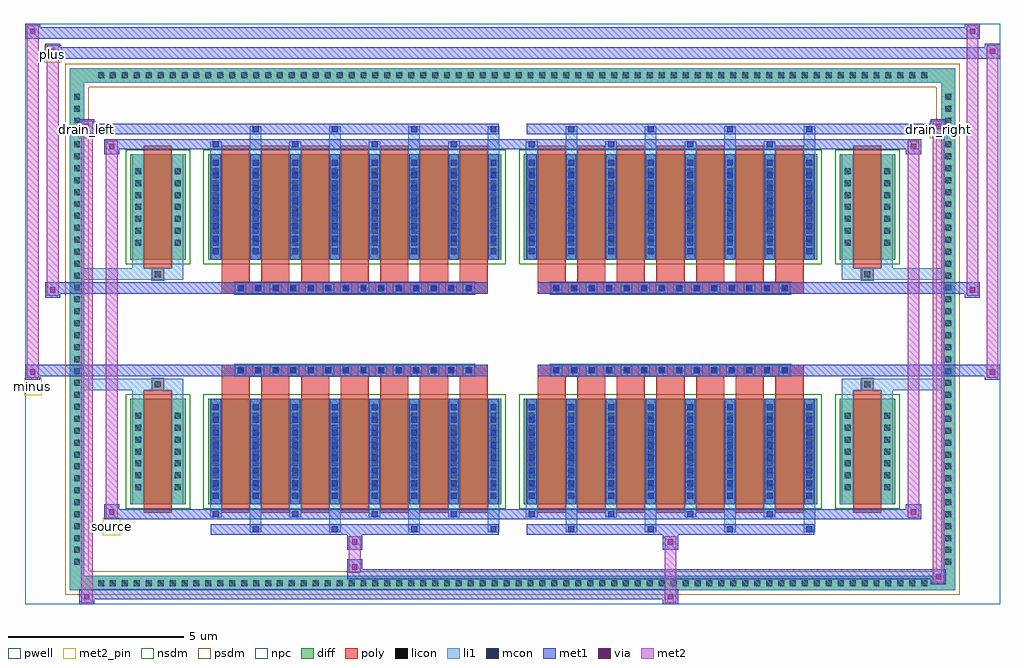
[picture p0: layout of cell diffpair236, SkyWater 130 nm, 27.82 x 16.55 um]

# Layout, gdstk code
import gdstk
lib = gdstk.Library(unit=1e-6, precision=5e-09)
def R(c, l, rs):  # rectangles x0, y0, x1, y1
    for r in rs: c.add(gdstk.rectangle(r[:2], r[2:], *l))
def A(c, l, x, y, w, h, nx, ny, dx, dy):  # array of equal rectangles
    R(c, l, [(x+i*dx, y+j*dy, x+i*dx+w, y+j*dy+h) for i in range(nx) for j in range(ny)])
def P(c, l, *ps):  # polygons
    for p in ps: c.add(gdstk.Polygon(p, *l))
pwell = (64, 44)
diff = (65, 20)
poly = (66, 20)
licon = (66, 44)
li1 = (67, 20)
mcon = (67, 44)
met1 = (68, 20)
via = (68, 44)
met2_pin = (69, 16)
met2 = (69, 20)
nsdm = (93, 44)
psdm = (94, 20)
npc = (95, 20)

diffpair236 = lib.new_cell('diffpair236')
R(diffpair236, pwell, [(-13.89,-7.84,13.89,8.71), (-11.21,-6.03,-0.01,-0.805), (0.01,-6.03,11.21,-0.805), (-11.21,0.805,-0.01,6.03), (0.01,0.805,11.21,6.03)])
A(diffpair236, diff, -11.935, -7.44, 0.41, 0.41, 70, 2, 0.34, 14.47)
A(diffpair236, diff, -12.62, -6.835, 0.41, 0.41, 1, 40, 0, 0.34)
A(diffpair236, diff, 12.21, -6.835, 0.41, 0.41, 1, 40, 0, 0.34)
R(diffpair236, diff, [(-11.935,-7.44,11.935,-7.03), (-12.62,-6.835,-12.21,6.835), (12.21,-6.835,12.62,6.835), (-10.9,-4.985,-9.32,-1.985), (-8.68,-4.985,-0.32,-1.985), (0.32,-4.985,8.68,-1.985), (9.32,-4.985,10.9,-1.985), (-10.9,1.985,-9.32,4.985), (-8.68,1.985,-0.32,4.985), (0.32,1.985,8.68,4.985), (9.32,1.985,10.9,4.985), (-11.935,7.03,11.935,7.44)])
P(diffpair236, diff, [(12.62,7.44),(-12.62,7.44),(-12.62,-7.03),(-12.21,-7.03),(-12.21,7.03),(12.21,7.03),(12.21,-7.03),(-12.21,-7.03),(-12.62,-7.03),(-12.62,-7.44),(12.62,-7.44)])
A(diffpair236, poly, -8.29, -5.235, 0.8, 3.5, 7, 2, 1.13, 6.97)
A(diffpair236, poly, 0.71, -5.235, 0.8, 3.5, 7, 2, 1.13, 6.97)
A(diffpair236, poly, -8.29, -1.735, 0.8, 0.4, 7, 2, 1.13, 3.07)
A(diffpair236, poly, 0.71, -1.735, 0.8, 0.4, 7, 2, 1.13, 3.07)
A(diffpair236, poly, -7.915, -1.335, 0.33, 0.33, 14, 2, 0.5, 2.34)
A(diffpair236, poly, 1.085, -1.335, 0.33, 0.33, 14, 2, 0.5, 2.34)
R(diffpair236, poly, [(-10.51,-5.235,-9.71,-1.735), (9.71,-5.235,10.51,-1.735), (-10.275,-1.735,-9.945,-1.405), (-10.275,-1.735,-9.945,-1.405), (9.945,-1.735,10.275,-1.405), (9.945,-1.735,10.275,-1.405), (-8.29,-1.335,-0.71,-1.005), (0.71,-1.335,8.29,-1.005), (-8.29,1.005,-0.71,1.335), (0.71,1.005,8.29,1.335), (-10.275,1.405,-9.945,1.735), (-10.275,1.405,-9.945,1.735), (9.945,1.405,10.275,1.735), (9.945,1.405,10.275,1.735), (-10.51,1.735,-9.71,5.235), (9.71,1.735,10.51,5.235)])
A(diffpair236, licon, -11.815, -7.32, 0.17, 0.17, 70, 2, 0.34, 14.47)
A(diffpair236, licon, -12.5, -6.715, 0.17, 0.17, 1, 40, 0, 0.34)
A(diffpair236, licon, 12.33, -6.715, 0.17, 0.17, 1, 40, 0, 0.34)
A(diffpair236, licon, -10.76, -4.59, 0.17, 0.17, 1, 7, 0, 0.34)
A(diffpair236, licon, -9.63, -4.59, 0.17, 0.17, 1, 7, 0, 0.34)
A(diffpair236, licon, -8.54, -4.59, 0.17, 0.17, 8, 7, 1.13, 0.34)
A(diffpair236, licon, 0.46, -4.59, 0.17, 0.17, 8, 7, 1.13, 0.34)
A(diffpair236, licon, 9.46, -4.59, 0.17, 0.17, 1, 7, 0, 0.34)
A(diffpair236, licon, 10.59, -4.59, 0.17, 0.17, 1, 7, 0, 0.34)
A(diffpair236, licon, -7.835, -1.255, 0.17, 0.17, 14, 2, 0.5, 2.34)
A(diffpair236, licon, 1.165, -1.255, 0.17, 0.17, 14, 2, 0.5, 2.34)
A(diffpair236, licon, -10.76, 2.38, 0.17, 0.17, 1, 7, 0, 0.34)
A(diffpair236, licon, -9.63, 2.38, 0.17, 0.17, 1, 7, 0, 0.34)
A(diffpair236, licon, -8.54, 2.38, 0.17, 0.17, 8, 7, 1.13, 0.34)
A(diffpair236, licon, 0.46, 2.38, 0.17, 0.17, 8, 7, 1.13, 0.34)
A(diffpair236, licon, 9.46, 2.38, 0.17, 0.17, 1, 7, 0, 0.34)
A(diffpair236, licon, 10.59, 2.38, 0.17, 0.17, 1, 7, 0, 0.34)
R(diffpair236, licon, [(-10.195,-1.655,-10.025,-1.485), (10.025,-1.655,10.195,-1.485), (-10.195,1.485,-10.025,1.655), (10.025,1.485,10.195,1.655)])
A(diffpair236, li1, -11.895, -7.4, 0.33, 0.33, 70, 2, 0.34, 14.47)
A(diffpair236, li1, -12.58, -6.795, 0.33, 0.33, 1, 40, 0, 0.34)
A(diffpair236, li1, 12.25, -6.795, 0.33, 0.33, 1, 40, 0, 0.34)
A(diffpair236, li1, -7.49, -5.79, 0.33, 0.805, 4, 2, 2.26, 10.775)
A(diffpair236, li1, -7.41, -5.79, 0.17, 0.17, 4, 2, 2.26, 11.41)
A(diffpair236, li1, 1.51, -5.79, 0.33, 0.805, 4, 2, 2.26, 10.775)
A(diffpair236, li1, 1.59, -5.79, 0.17, 0.17, 4, 2, 2.26, 11.41)
A(diffpair236, li1, -8.62, -5.36, 0.33, 0.375, 4, 2, 2.26, 10.345)
A(diffpair236, li1, -8.54, -5.36, 0.17, 0.17, 4, 2, 2.26, 10.55)
A(diffpair236, li1, 0.38, -5.36, 0.33, 0.375, 4, 2, 2.26, 10.345)
A(diffpair236, li1, 0.46, -5.36, 0.17, 0.17, 4, 2, 2.26, 10.55)
A(diffpair236, li1, -8.62, -4.985, 0.33, 3, 8, 2, 1.13, 6.97)
A(diffpair236, li1, 0.38, -4.985, 0.33, 3, 8, 2, 1.13, 6.97)
A(diffpair236, li1, -8.54, -4.83, 0.17, 0.17, 8, 8, 1.13, 0.36)
A(diffpair236, li1, -8.54, -4.83, 0.17, 2.69, 8, 2, 1.13, 6.97)
A(diffpair236, li1, 0.46, -4.83, 0.17, 0.17, 8, 8, 1.13, 0.36)
A(diffpair236, li1, 0.46, -4.83, 0.17, 2.69, 8, 2, 1.13, 6.97)
A(diffpair236, li1, -10.84, -4.67, 0.33, 0.33, 1, 7, 0, 0.34)
A(diffpair236, li1, -9.71, -4.67, 0.33, 0.33, 1, 7, 0, 0.34)
A(diffpair236, li1, -8.62, -4.67, 0.33, 0.33, 8, 7, 1.13, 0.34)
A(diffpair236, li1, 0.38, -4.67, 0.33, 0.33, 8, 7, 1.13, 0.34)
A(diffpair236, li1, 9.38, -4.67, 0.33, 0.33, 1, 7, 0, 0.34)
A(diffpair236, li1, 10.51, -4.67, 0.33, 0.33, 1, 7, 0, 0.34)
A(diffpair236, li1, -7.915, -1.335, 0.33, 0.33, 14, 2, 0.5, 2.34)
A(diffpair236, li1, 1.085, -1.335, 0.33, 0.33, 14, 2, 0.5, 2.34)
A(diffpair236, li1, -8.54, 2.14, 0.17, 0.17, 8, 8, 1.13, 0.36)
A(diffpair236, li1, 0.46, 2.14, 0.17, 0.17, 8, 8, 1.13, 0.36)
A(diffpair236, li1, -10.84, 2.3, 0.33, 0.33, 1, 7, 0, 0.34)
A(diffpair236, li1, -9.71, 2.3, 0.33, 0.33, 1, 7, 0, 0.34)
A(diffpair236, li1, -8.62, 2.3, 0.33, 0.33, 8, 7, 1.13, 0.34)
A(diffpair236, li1, 0.38, 2.3, 0.33, 0.33, 8, 7, 1.13, 0.34)
A(diffpair236, li1, 9.38, 2.3, 0.33, 0.33, 1, 7, 0, 0.34)
A(diffpair236, li1, 10.51, 2.3, 0.33, 0.33, 1, 7, 0, 0.34)
R(diffpair236, li1, [(-12.62,-7.44,-12.21,-7.03), (-12.62,-7.44,-12.21,-7.03), (-12.21,-7.44,12.21,-7.03), (12.21,-7.44,12.62,-7.03), (12.21,-7.44,12.62,-7.03), (-12.62,-7.03,-12.21,7.03), (12.21,-7.03,12.62,7.03), (-10.84,-4.985,-10.51,-1.985), (-9.71,-4.985,-9.38,-1.985), (9.38,-4.985,9.71,-1.985), (10.51,-4.985,10.84,-1.985), (-10.84,-1.985,-10.51,-1.405), (-9.71,-1.985,-9.38,-1.405), (9.38,-1.985,9.71,-1.405), (10.51,-1.985,10.84,-1.405), (-12.62,-1.735,-10.275,-1.405), (-10.84,-1.735,-10.275,-1.405), (-10.275,-1.735,-9.945,-1.405), (-9.945,-1.735,-9.38,-1.405), (9.38,-1.735,9.945,-1.405), (9.945,-1.735,10.275,-1.405), (9.945,-1.735,12.62,-1.405), (10.275,-1.735,10.84,-1.405), (-12.62,1.405,-10.275,1.735), (-10.84,1.405,-10.275,1.735), (-10.84,1.405,-10.51,1.985), (-10.275,1.405,-9.945,1.735), (-9.945,1.405,-9.38,1.735), (-9.71,1.405,-9.38,1.985), (9.38,1.405,9.945,1.735), (9.38,1.405,9.71,1.985), (9.945,1.405,10.275,1.735), (9.945,1.405,12.62,1.735), (10.275,1.405,10.84,1.735), (10.51,1.405,10.84,1.985), (-10.84,1.985,-10.51,4.985), (-9.71,1.985,-9.38,4.985), (9.38,1.985,9.71,4.985), (10.51,1.985,10.84,4.985), (-12.62,7.03,-12.21,7.44), (-12.62,7.03,-12.21,7.44), (-12.21,7.03,12.21,7.44), (12.21,7.03,12.62,7.44), (12.21,7.03,12.62,7.44)])
A(diffpair236, mcon, -7.41, -5.79, 0.17, 0.17, 4, 2, 2.26, 11.41)
A(diffpair236, mcon, 1.59, -5.79, 0.17, 0.17, 4, 2, 2.26, 11.41)
A(diffpair236, mcon, -8.54, -5.36, 0.17, 0.17, 4, 2, 2.26, 10.55)
A(diffpair236, mcon, 0.46, -5.36, 0.17, 0.17, 4, 2, 2.26, 10.55)
A(diffpair236, mcon, -8.54, -4.83, 0.17, 0.17, 8, 8, 1.13, 0.36)
A(diffpair236, mcon, 0.46, -4.83, 0.17, 0.17, 8, 8, 1.13, 0.36)
A(diffpair236, mcon, -7.835, -1.255, 0.17, 0.17, 14, 2, 0.5, 2.34)
A(diffpair236, mcon, 1.165, -1.255, 0.17, 0.17, 14, 2, 0.5, 2.34)
A(diffpair236, mcon, -8.54, 2.14, 0.17, 0.17, 8, 8, 1.13, 0.36)
A(diffpair236, mcon, 0.46, 2.14, 0.17, 0.17, 8, 8, 1.13, 0.36)
A(diffpair236, met1, -7.47, -5.85, 0.29, 0.29, 4, 2, 2.26, 11.41)
A(diffpair236, met1, 1.53, -5.85, 0.29, 0.29, 4, 2, 2.26, 11.41)
A(diffpair236, met1, -8.6, -5.42, 0.29, 0.29, 4, 2, 2.26, 10.55)
A(diffpair236, met1, 0.4, -5.42, 0.29, 0.29, 4, 2, 2.26, 10.55)
A(diffpair236, met1, -8.6, -4.985, 0.29, 3, 8, 2, 1.13, 6.97)
A(diffpair236, met1, 0.4, -4.985, 0.29, 3, 8, 2, 1.13, 6.97)
A(diffpair236, met1, -8.6, -4.89, 0.29, 0.29, 8, 8, 1.13, 0.36)
A(diffpair236, met1, 0.4, -4.89, 0.29, 0.29, 8, 8, 1.13, 0.36)
A(diffpair236, met1, -7.895, -1.315, 0.29, 0.29, 14, 2, 0.5, 2.34)
A(diffpair236, met1, 1.105, -1.315, 0.29, 0.29, 14, 2, 0.5, 2.34)
A(diffpair236, met1, -8.6, 2.08, 0.29, 0.29, 8, 8, 1.13, 0.36)
A(diffpair236, met1, 0.4, 2.08, 0.29, 0.29, 8, 8, 1.13, 0.36)
R(diffpair236, met1, [(-12.35,-7.84,-11.92,-7.41), (4.285,-7.84,4.715,-7.41), (-12.35,-7.7,4.715,-7.41), (11.92,-7.27,12.35,-6.84), (-4.715,-7.13,12.35,-6.84), (-4.715,-6.99,-4.285,-6.56), (-4.715,-6.28,-4.285,-5.85), (4.285,-6.28,4.715,-5.85), (-8.6,-5.85,-0.4,-5.56), (0.4,-5.85,8.6,-5.56), (-11.64,-5.42,-11.21,-4.99), (-11.64,-5.42,-8.6,-5.13), (-8.6,-5.42,-0.4,-5.13), (-0.4,-5.42,0.4,-5.13), (0.4,-5.42,8.6,-5.13), (8.6,-5.42,11.64,-5.13), (11.21,-5.42,11.64,-4.99), (-13.89,-1.435,-13.46,-1.005), (13.46,-1.435,13.89,-1.005), (-13.89,-1.335,-0.71,-1.005), (-8.29,-1.335,-0.71,-1.005), (0.71,-1.335,8.29,-1.005), (0.71,-1.335,13.89,-1.005), (-13.32,0.905,-12.89,1.335), (12.89,0.905,13.32,1.335), (-13.32,1.005,-8.29,1.335), (-8.29,1.005,-0.71,1.335), (0.71,1.005,8.29,1.335), (8.29,1.005,13.32,1.335), (-11.64,4.99,-11.21,5.42), (11.21,4.99,11.64,5.42), (-11.64,5.13,-8.6,5.42), (-8.6,5.13,-0.4,5.42), (-0.4,5.13,0.4,5.42), (0.4,5.13,8.6,5.42), (8.6,5.13,11.64,5.42), (-12.35,5.56,-11.92,5.99), (-12.35,5.56,-8.6,5.85), (-8.6,5.56,-0.4,5.85), (0.4,5.56,8.6,5.85), (8.6,5.56,12.35,5.85), (11.92,5.56,12.35,5.99), (-13.32,7.71,-12.89,8.14), (-13.32,7.71,-11.21,8.04), (-11.21,7.71,11.21,8.04), (11.21,7.71,13.89,8.04), (13.46,7.71,13.89,8.14), (-13.89,8.28,-13.46,8.71), (-13.89,8.28,-11.21,8.61), (-11.21,8.28,11.21,8.61), (11.21,8.28,13.32,8.61), (12.89,8.28,13.32,8.71)])
R(diffpair236, via, [(-12.21,-7.7,-12.06,-7.55), (4.425,-7.7,4.575,-7.55), (12.06,-7.13,12.21,-6.98), (-4.575,-6.85,-4.425,-6.7), (-4.575,-6.14,-4.425,-5.99), (4.425,-6.14,4.575,-5.99), (-11.5,-5.28,-11.35,-5.13), (11.35,-5.28,11.5,-5.13), (-13.75,-1.295,-13.6,-1.145), (13.6,-1.295,13.75,-1.145), (-13.18,1.045,-13.03,1.195), (13.03,1.045,13.18,1.195), (-11.5,5.13,-11.35,5.28), (11.35,5.13,11.5,5.28), (-12.21,5.7,-12.06,5.85), (12.06,5.7,12.21,5.85), (-13.18,7.85,-13.03,8), (13.6,7.85,13.75,8), (-13.75,8.42,-13.6,8.57), (13.03,8.42,13.18,8.57)])
R(diffpair236, met2_pin, [(-11.675,-5.87,-11.175,-5.37), (-13.925,-1.885,-13.425,-1.385), (-12.385,5.44,-11.885,5.94), (11.885,5.44,12.385,5.94), (-13.355,7.59,-12.855,8.09)])
R(diffpair236, met2, [(-12.3,-7.79,-11.97,-7.46), (-12.3,-7.79,-11.97,5.94), (4.335,-7.79,4.665,-7.46), (4.335,-7.46,4.665,-6.23), (11.97,-7.22,12.3,-6.89), (11.97,-7.22,12.3,5.94), (-4.665,-6.94,-4.335,-6.61), (-4.665,-6.61,-4.335,-6.23), (-4.665,-6.23,-4.335,-5.9), (4.335,-6.23,4.665,-5.9), (-11.59,-5.37,-11.26,-5.04), (-11.59,-5.37,-11.26,5.37), (11.26,-5.37,11.59,-5.04), (11.26,-5.37,11.59,5.37), (-13.84,-1.385,-13.51,-1.055), (-13.84,-1.385,-13.51,8.66), (13.51,-1.385,13.84,-1.055), (13.51,-1.385,13.84,8.09), (-13.27,0.955,-12.94,1.285), (-13.27,0.955,-12.94,8.09), (12.94,0.955,13.27,1.285), (12.94,0.955,13.27,8.66), (-11.59,5.04,-11.26,5.37), (11.26,5.04,11.59,5.37), (-12.3,5.61,-11.97,5.94), (11.97,5.61,12.3,5.94), (-13.27,7.76,-12.94,8.09), (13.51,7.76,13.84,8.09), (-13.84,8.33,-13.51,8.66), (12.94,8.33,13.27,8.66)])
P(diffpair236, met2, [(13.84,-1.385),(13.84,-1.385),(13.84,-1.055),(13.84,-1.055)],
  [(13.84,7.76),(13.84,7.76),(13.84,8.09),(13.84,8.09)],
  [(-13.51,-1.385),(-13.51,-1.385),(-13.51,-1.055),(-13.51,-1.055)],
  [(-13.51,8.33),(-13.51,8.33),(-13.51,8.66),(-13.51,8.66)],
  [(13.27,0.955),(13.27,0.955),(13.27,1.285),(13.27,1.285)],
  [(13.27,8.33),(13.27,8.33),(13.27,8.66),(13.27,8.66)],
  [(-12.94,0.955),(-12.94,0.955),(-12.94,1.285),(-12.94,1.285)],
  [(-12.94,7.76),(-12.94,7.76),(-12.94,8.09),(-12.94,8.09)],
  [(-11.97,-7.79),(-11.97,-7.79),(-11.97,-7.46),(-11.97,-7.46)],
  [(-11.97,5.61),(-11.97,5.61),(-11.97,5.94),(-11.97,5.94)],
  [(12.3,-7.22),(12.3,-7.22),(12.3,-6.89),(12.3,-6.89)],
  [(12.3,5.61),(12.3,5.61),(12.3,5.94),(12.3,5.94)],
  [(-11.26,-5.37),(-11.26,-5.37),(-11.26,-5.04),(-11.26,-5.04)],
  [(-11.26,5.04),(-11.26,5.04),(-11.26,5.37),(-11.26,5.37)],
  [(11.59,-5.37),(11.59,-5.37),(11.59,-5.04),(11.59,-5.04)],
  [(11.59,5.04),(11.59,5.04),(11.59,5.37),(11.59,5.37)])
R(diffpair236, nsdm, [(-11.03,-5.115,-9.19,-1.855), (-8.81,-5.115,-0.19,-1.855), (0.19,-5.115,8.81,-1.855), (9.19,-5.115,11.03,-1.855), (-11.03,1.855,-9.19,5.115), (-8.81,1.855,-0.19,5.115), (0.19,1.855,8.81,5.115), (9.19,1.855,11.03,5.115)])
P(diffpair236, psdm, [(12.75,7.57),(-12.75,7.57),(-12.75,-6.9),(-12.08,-6.9),(-12.08,6.9),(12.08,6.9),(12.08,-6.9),(-12.08,-6.9),(-12.75,-6.9),(-12.75,-7.57),(12.75,-7.57)])
A(diffpair236, npc, -7.935, -1.355, 0.37, 0.37, 14, 2, 0.5, 2.34)
A(diffpair236, npc, 1.065, -1.355, 0.37, 0.37, 14, 2, 0.5, 2.34)
R(diffpair236, npc, [(-10.295,-1.755,-9.925,-1.385), (9.925,-1.755,10.295,-1.385), (-7.935,-1.355,-7.065,-0.985), (-7.935,-1.355,-7.065,-0.985), (-7.435,-1.355,-6.565,-0.985), (-7.435,-1.355,-6.565,-0.985), (-6.935,-1.355,-6.065,-0.985), (-6.935,-1.355,-6.065,-0.985), (-6.435,-1.355,-5.565,-0.985), (-6.435,-1.355,-5.565,-0.985), (-5.935,-1.355,-5.065,-0.985), (-5.935,-1.355,-5.065,-0.985), (-5.435,-1.355,-4.565,-0.985), (-5.435,-1.355,-4.565,-0.985), (-4.935,-1.355,-4.065,-0.985), (-4.935,-1.355,-4.065,-0.985), (-4.435,-1.355,-3.565,-0.985), (-4.435,-1.355,-3.565,-0.985), (-3.935,-1.355,-3.065,-0.985), (-3.935,-1.355,-3.065,-0.985), (-3.435,-1.355,-2.565,-0.985), (-3.435,-1.355,-2.565,-0.985), (-2.935,-1.355,-2.065,-0.985), (-2.935,-1.355,-2.065,-0.985), (-2.435,-1.355,-1.565,-0.985), (-2.435,-1.355,-1.565,-0.985), (-1.935,-1.355,-1.065,-0.985), (-1.935,-1.355,-1.065,-0.985), (1.065,-1.355,1.935,-0.985), (1.065,-1.355,1.935,-0.985), (1.565,-1.355,2.435,-0.985), (1.565,-1.355,2.435,-0.985), (2.065,-1.355,2.935,-0.985), (2.065,-1.355,2.935,-0.985), (2.565,-1.355,3.435,-0.985), (2.565,-1.355,3.435,-0.985), (3.065,-1.355,3.935,-0.985), (3.065,-1.355,3.935,-0.985), (3.565,-1.355,4.435,-0.985), (3.565,-1.355,4.435,-0.985), (4.065,-1.355,4.935,-0.985), (4.065,-1.355,4.935,-0.985), (4.565,-1.355,5.435,-0.985), (4.565,-1.355,5.435,-0.985), (5.065,-1.355,5.935,-0.985), (5.065,-1.355,5.935,-0.985), (5.565,-1.355,6.435,-0.985), (5.565,-1.355,6.435,-0.985), (6.065,-1.355,6.935,-0.985), (6.065,-1.355,6.935,-0.985), (6.565,-1.355,7.435,-0.985), (6.565,-1.355,7.435,-0.985), (7.065,-1.355,7.935,-0.985), (7.065,-1.355,7.935,-0.985), (-7.935,0.985,-7.065,1.355), (-7.935,0.985,-7.065,1.355), (-7.435,0.985,-6.565,1.355), (-7.435,0.985,-6.565,1.355), (-6.935,0.985,-6.065,1.355), (-6.935,0.985,-6.065,1.355), (-6.435,0.985,-5.565,1.355), (-6.435,0.985,-5.565,1.355), (-5.935,0.985,-5.065,1.355), (-5.935,0.985,-5.065,1.355), (-5.435,0.985,-4.565,1.355), (-5.435,0.985,-4.565,1.355), (-4.935,0.985,-4.065,1.355), (-4.935,0.985,-4.065,1.355), (-4.435,0.985,-3.565,1.355), (-4.435,0.985,-3.565,1.355), (-3.935,0.985,-3.065,1.355), (-3.935,0.985,-3.065,1.355), (-3.435,0.985,-2.565,1.355), (-3.435,0.985,-2.565,1.355), (-2.935,0.985,-2.065,1.355), (-2.935,0.985,-2.065,1.355), (-2.435,0.985,-1.565,1.355), (-2.435,0.985,-1.565,1.355), (-1.935,0.985,-1.065,1.355), (-1.935,0.985,-1.065,1.355), (1.065,0.985,1.935,1.355), (1.065,0.985,1.935,1.355), (1.565,0.985,2.435,1.355), (1.565,0.985,2.435,1.355), (2.065,0.985,2.935,1.355), (2.065,0.985,2.935,1.355), (2.565,0.985,3.435,1.355), (2.565,0.985,3.435,1.355), (3.065,0.985,3.935,1.355), (3.065,0.985,3.935,1.355), (3.565,0.985,4.435,1.355), (3.565,0.985,4.435,1.355), (4.065,0.985,4.935,1.355), (4.065,0.985,4.935,1.355), (4.565,0.985,5.435,1.355), (4.565,0.985,5.435,1.355), (5.065,0.985,5.935,1.355), (5.065,0.985,5.935,1.355), (5.565,0.985,6.435,1.355), (5.565,0.985,6.435,1.355), (6.065,0.985,6.935,1.355), (6.065,0.985,6.935,1.355), (6.565,0.985,7.435,1.355), (6.565,0.985,7.435,1.355), (7.065,0.985,7.935,1.355), (7.065,0.985,7.935,1.355), (-10.295,1.385,-9.925,1.755), (9.925,1.385,10.295,1.755)])
diffpair236.add(gdstk.Label('minus', (-13.675,-1.635), layer=69, texttype=5))
diffpair236.add(gdstk.Label('drain_right', (12.135,5.69), layer=69, texttype=5))
diffpair236.add(gdstk.Label('drain_left', (-12.135,5.69), layer=69, texttype=5))
diffpair236.add(gdstk.Label('source', (-11.425,-5.62), layer=69, texttype=5))
diffpair236.add(gdstk.Label('plus', (-13.105,7.84), layer=69, texttype=5))

lib.write_gds('diffpair236.gds')
